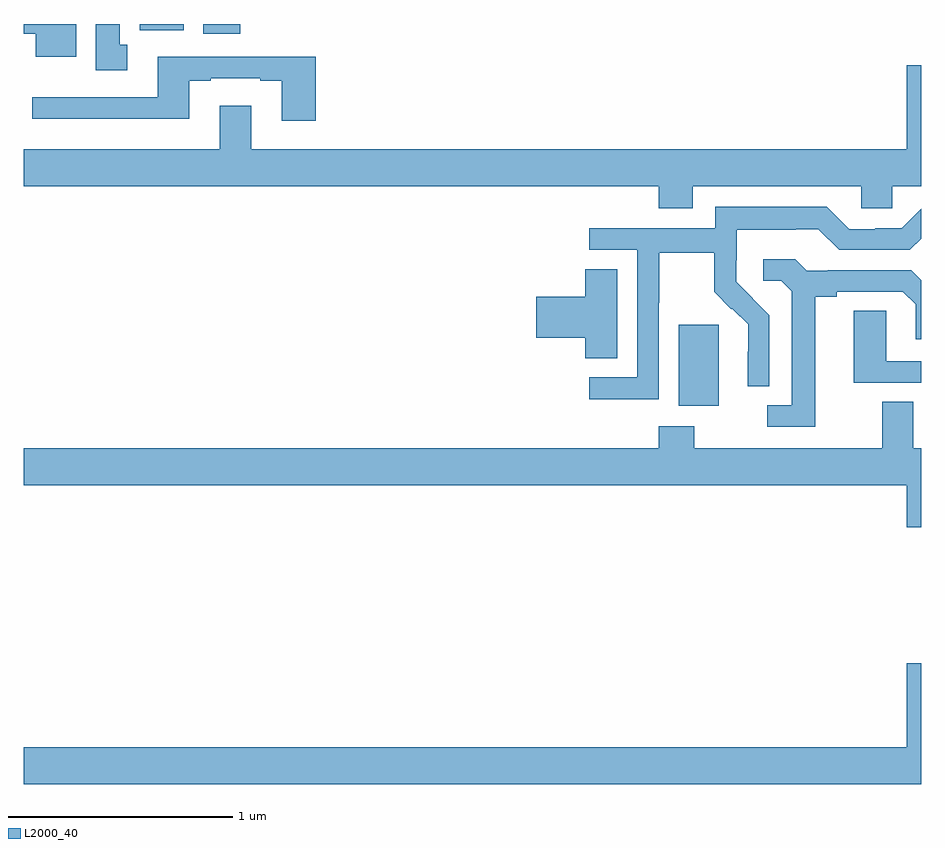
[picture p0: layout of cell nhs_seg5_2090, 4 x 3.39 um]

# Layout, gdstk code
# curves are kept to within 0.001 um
import gdstk
lib = gdstk.Library(unit=1e-6, precision=1e-09)
def R(c, l, rs):  # rectangles x0, y0, x1, y1
    for r in rs: c.add(gdstk.rectangle(r[:2], r[2:], *l))
def P(c, l, *ps):  # polygons
    for p in ps: c.add(gdstk.Polygon(p, *l))
L2000_40 = (2000, 40)

nhs_seg5_2090 = lib.new_cell('nhs_seg5_2090')
R(nhs_seg5_2090, L2000_40, [(235.919,873.098,236.098,873.459), (233.801,874.755,233.965,874.799), (233.516,874.772,233.713,874.799)])
P(nhs_seg5_2090, L2000_40, [(233.461,874.706),(233.428,874.706),(233.428,874.799),(233.321,874.799),(233.321,874.593),(233.461,874.593)],
  [(233.233,874.799),(233,874.799),(233,874.756),(233.054,874.756),(233.054,874.652),(233.233,874.652)],
  [(234.302,874.654),(234.057,874.654),(234.057,874.653),(233.597,874.653),(233.597,874.473),(233.037,874.473),(233.037,874.376),(233.737,874.376),(233.737,874.545),(233.833,874.545),(233.833,874.557),(234.053,874.557),(234.053,874.545),(234.149,874.545),(234.149,874.368),(234.302,874.368)],
  [(234.013,874.435),(233.873,874.435),(233.873,874.24),(233,874.24),(233,874.076),(235.829,874.076),(235.829,873.977),(235.981,873.977),(235.981,874.076),(236.733,874.076),(236.733,873.978),(236.871,873.978),(236.871,874.076),(237,874.076),(237,874.615),(236.936,874.615),(236.936,874.24),(234.013,874.24)],
  [(235.83,873.556),(235.833,873.556),(235.833,873.78),(236.077,873.78),(236.077,873.605),(236.154,873.528),(236.157,873.531),(236.228,873.461),(236.228,873.338),(236.226,873.338),(236.226,873.184),(236.322,873.184),(236.322,873.502),(236.176,873.65),(236.176,873.747),(236.178,873.747),(236.178,873.881),(236.441,873.881),(236.441,873.885),(236.541,873.885),(236.634,873.792),(236.949,873.792),(237,873.843),(237,873.975),(236.913,873.888),(236.795,873.888),(236.795,873.885),(236.679,873.885),(236.579,873.985),(236.082,873.985),(236.082,873.888),(235.521,873.888),(235.521,873.792),(235.734,873.792),(235.734,873.225),(235.521,873.225),(235.521,873.127),(235.83,873.127)],
  [(236.527,873.584),(236.623,873.584),(236.623,873.606),(236.918,873.606),(236.975,873.549),(236.975,873.393),(237,873.393),(237,873.658),(236.956,873.702),(236.584,873.702),(236.584,873.699),(236.49,873.699),(236.438,873.751),(236.295,873.751),(236.295,873.654),(236.376,873.654),(236.423,873.607),(236.423,873.099),(236.313,873.099),(236.313,873.003),(236.527,873.003)],
  [(235.645,873.707),(235.502,873.707),(235.502,873.584),(235.284,873.584),(235.284,873.401),(235.502,873.401),(235.502,873.31),(235.645,873.31)],
  [(237,873.297),(236.844,873.297),(236.844,873.521),(236.699,873.521),(236.699,873.201),(237,873.201)],
  [(237,872.908),(236.965,872.908),(236.965,873.116),(236.825,873.116),(236.825,872.908),(235.989,872.908),(235.989,873.007),(235.829,873.007),(235.829,872.908),(233,872.908),(233,872.744),(236.936,872.744),(236.936,872.556),(237,872.556)],
  [(237,871.951),(236.936,871.951),(236.936,871.576),(233,871.576),(233,871.412),(237,871.412)])

lib.write_gds('nhs_seg5_2090.gds')
